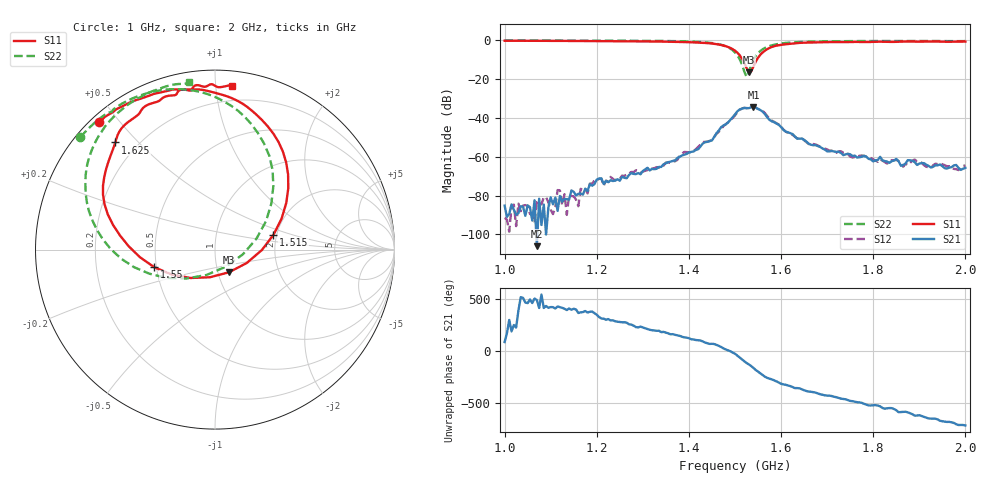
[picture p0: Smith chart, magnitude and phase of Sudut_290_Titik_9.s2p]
# Hz S RI R 50
! CMT, C1220, 16058040, 17.2.0/1
! Date: 14/08/2018 11:59:01
! Data: Format (Calibration Info)
! Freq  S11: Re/Im (F2)  S21: Re/Im (F2)  S12: Re/Im (F2)  S22: Re/Im (F2)
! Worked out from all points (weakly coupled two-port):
!   201 points, 1 GHz to 2 GHz, reference 50 ohm
!   highest |S21| = -34.37 dB at 1.54 GHz (marker M1); lowest = -106.0 dB at 1.07 GHz (marker M2)
!   lowest |S11| = -16.6 dB at 1.53 GHz (marker M3), VSWR 1.35, Z = 56.5 - j14.6 ohm
!   |S11| at or under -10 dB: 1.516 GHz to 1.548 GHz (31.5 MHz wide, 2.06 % of centre)
!   |S22| runs from -19.0 to -0.2 dB; largest |S21 - S12| = 0.00092
!   S11 on the Smith chart (normalised r, x): 1 GHz: 0.02, +0.44; 1.515 GHz: 1.92, +0.36; 1.55 GHz: 0.49, -0.11; 1.625 GHz: 0.12, +0.43; 2 GHz: 0.10, +1.10
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1e9  -0.6445 0.7124  4.47e-06 5.49e-05  -2.43e-05 -1.11e-05  -0.7501 0.6269
1.07e9  -0.571 0.7646  -3.22e-06 3.82e-06  -1.08e-05 6.65e-05  -0.7007 0.6787
1.16e9  -0.4847 0.815  0.000111 1e-05  2.35e-05 4.78e-05  -0.6229 0.7453
1.17e9  -0.4714 0.8209  0.000102 2.55e-05  0.000142 -7.34e-06  -0.6124 0.752
1.18e9  -0.4545 0.8278  0.00013 2.24e-05  0.00011 2.72e-05  -0.6011 0.7584
1.185e9  -0.4465 0.8308  0.000187 5.65e-05  0.000191 7.15e-05  -0.5951 0.7614
1.205e9  -0.4246 0.8378  0.000228 -0.000155  0.00023 -0.00014  -0.5761 0.7661
1.215e9  -0.4156 0.841  0.000129 -0.000151  0.000116 -0.000136  -0.5716 0.7736
1.23e9  -0.3912 0.8489  9.62e-05 -0.000229  0.000114 -0.000279  -0.5564 0.7888
1.335e9  -0.2136 0.8923  -0.000531 -0.000131  -0.00052 -3.87e-05  -0.3959 0.866
1.45e9  0.1797 0.7947  0.000955 0.00244  0.00121 0.00243  0.0264 0.8382
1.5e9  0.4083 0.3438  0.0109 -0.00557  0.0102 -0.00525  0.325 0.3537
1.515e9  0.3259 0.0827  0.00252 -0.017  0.00307 -0.017  0.2309 0.0608
1.525e9  0.1768 -0.0747  -0.00782 -0.0159  -0.00772 -0.0161  0.0599 -0.0955
1.53e9  0.0781 -0.1262  -0.0113 -0.0136  -0.0113 -0.0138  -0.047 -0.1413
1.54e9  -0.1365 -0.1582  -0.0183 -0.0054  -0.0182 -0.00554  -0.2682 -0.1582
1.55e9  -0.3377 -0.0985  -0.0159 0.00577  -0.0162 0.00513  -0.4511 -0.0978
1.58e9  -0.6154 0.2524  0.000577 0.00811  0.001 0.00841  -0.7021 0.2144
1.625e9  -0.5553 0.5971  0.00373 0.000787  0.00356 0.000806  -0.698 0.5222
1.67e9  -0.4416 0.7407  0.00157 -0.00119  0.00172 -0.00124  -0.6208 0.6742
1.835e9  -0.1459 0.8864  -0.000687 0.00012  -0.00069 0.000187  -0.3703 0.8731
2e9  0.0933 0.912  0.000517 2.12e-05  0.000596 -2.69e-05  -0.147 0.9311
